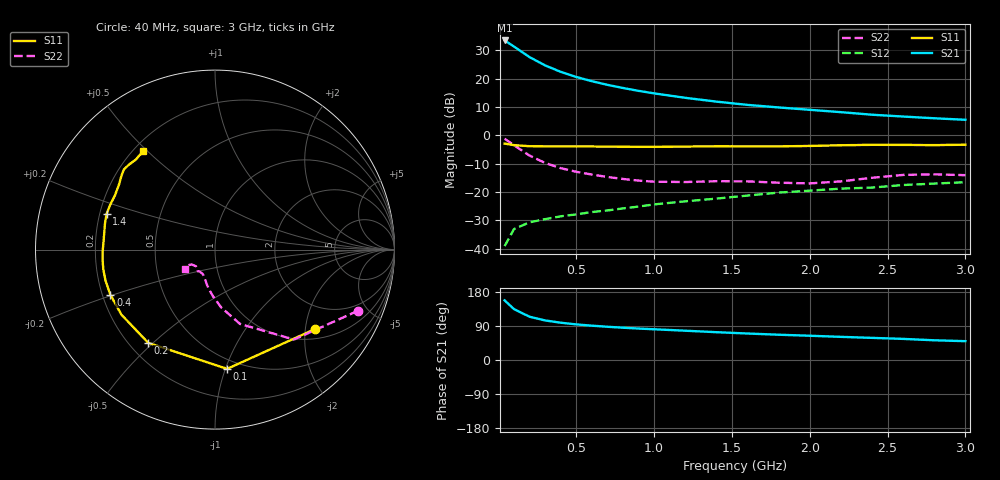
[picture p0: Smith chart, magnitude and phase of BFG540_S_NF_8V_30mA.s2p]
! Filename:  BFG540J.S2P  Version:  3.0
! Philips part #: BFG540  Date: Feb 1992
! Bias condition: Vce=8V, Ic=30mA
! IN LINE PINNING: same data as with cross emitter pinning.
#  MHz  S  MA  R  50
! Freq  S11  S21  S12  S22  !GUM [dB]
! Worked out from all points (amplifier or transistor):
!   21 points, 40 MHz to 3 GHz, reference 50 ohm
!   highest |S21| = 33.4 dB at 40 MHz (marker M1)
!   |S21| within 3 dB of that: start of sweep to 123.3 MHz
!   unconditionally stable (mu >= 1): 825 MHz to end of sweep
!   at 300 MHz: K = 0.56, MSG = 27.1 dB, |S12| = -29.6 dB
!   at 1 GHz: K = 1.07, MAG = 18.0 dB, |S12| = -24.4 dB
!   at 3 GHz: K = 1.17, MAG = 8.5 dB, |S12| = -16.6 dB
!   lowest NFmin = 1.70 dB at 900 MHz
!   S11 on the Smith chart (normalised r, x): 40 MHz: 1.25, -2.25; 100 MHz: 0.42, -1.01; 200 MHz: 0.27, -0.48; 400 MHz: 0.23, -0.20; 1.4 GHz: 0.23, +0.15; 3 GHz: 0.24, +0.48
40  0.711 -38.6  46.95 157.3  0.011 71.0  0.866 -23.2
100  0.668 -84.2  36.73 134.4  0.022 54.4  0.667 -48.7
200  0.639 -125.6  23.9 114.2  0.029 44.8  0.437 -71.4
300  0.635 -145.2  17.04 104.4  0.033 43.9  0.324 -83.9
400  0.635 -156.7  13.12 98.4  0.037 45.6  0.262 -92.2
500  0.634 -164.3  10.66 94.0  0.04 48.0  0.226 -98.2
600  0.632 -170.0  8.973 90.6  0.044 50.8  0.202 -102.7
700  0.629 -174.9  7.74 87.7  0.047 53.0  0.183 -106.5
800  0.626 -179.1  6.807 85.2  0.051 54.8  0.169 -110.0
900  0.623 176.9  6.063 83.0  0.055 56.6  0.158 -113.9
1000  0.623 173.1  5.468 81.1  0.06 58.2  0.151 -118.0
1200  0.63 166.7  4.567 77.3  0.068 60.5  0.149 -125.2
1400  0.636 161.7  3.913 73.4  0.076 61.4  0.154 -128.4
1600  0.635 156.9  3.425 69.9  0.086 63.3  0.153 -129.1
1800  0.634 151.5  3.088 66.7  0.097 63.3  0.145 -131.1
2000  0.646 145.9  2.803 64.0  0.105 64.2  0.141 -138.6
2200  0.664 141.7  2.549 61.1  0.114 64.1  0.153 -147.1
2400  0.676 138.7  2.297 58.4  0.119 64.7  0.177 -150.5
2600  0.674 135.6  2.133 55.7  0.132 63.8  0.199 -148.7
2800  0.668 131.3  1.988 52.0  0.14 61.7  0.204 -146.2
3000  0.679 126.2  1.869 49.7  0.148 62.4  0.197 -147.6
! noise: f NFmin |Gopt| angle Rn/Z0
900  1.7  0.241  149  0.15
2000  2.4  0.479  -163  0.12
